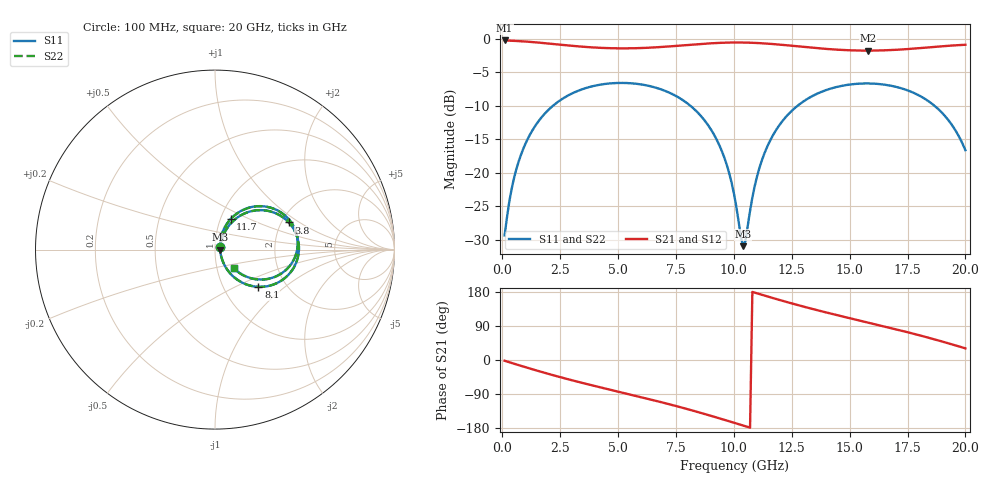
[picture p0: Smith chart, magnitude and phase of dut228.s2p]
! Touchstone file exported from HFSS 2026.1.0
!  File:  C:/ffzhzh/LocalFiles/Ansys_Project_Files/temp_train_TSV_RDL_228_1783064089_36532.aedt
!  Generated:  03:45:16 PM Jul  3, 2026
!  Design:  TSV_RDL
!  Project:  temp_train_TSV_RDL_228_1783064089_36532
! Variables:
!  h_bsmrdl = 5.6um
!  h_ox = 20um
!  h_rdl = 5um
!  h_sub = 51.95um
!  h_tmrdl = 4.25um
!  h_tsv = 51.95um
!  h_via = 3um
!  l_bsmrdl = 413.42um
!  l_sub = 5640.36um
!  l_tmrdl = 980.03um
!  m_sub = 200um
!  pitch = 34.62um
!  r_tsv = 13.12um
!  s_tmrdl = 10um
!  w_bsmrdl = 11.76um
!  w_sub = 500um
!  w_tmrdl = 14.9um
!  x_tsv_center1 = 987.48um
!  x_tsv_center2 = 1412.66um
!  x_tsv_center3 = 2407.59um
!  x_tsv_center4 = 2832.77um
!  x_tsv_center5 = 3827.7um
!  x_tsv_center6 = 4252.88um
# GHz S MA R 50.000000
! Terminal data exported
! Port[1] = TM_RDL1_1_T1
! Port[2] = TM_RDL5_1_T1
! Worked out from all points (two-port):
!   200 points, 100 MHz to 20 GHz, reference 50 ohm
!   highest |S21| = -0.26 dB at 100 MHz (marker M1); lowest = -1.8 dB at 15.8 GHz (marker M2)
!   |S21| within 3 dB of the highest: start of sweep to end of sweep
!   lowest |S11| = -31.0 dB at 10.4 GHz (marker M3), VSWR 1.06, Z = 52.9 - j0.0727 ohm
!   |S11| at or under -10 dB: start of sweep to 2.191 GHz; 8.12 GHz to 12.76 GHz (4.635 GHz wide, 44.4 % of centre); 18.66 GHz to end of sweep
!   |S22| runs from -30.8 to -6.6 dB; largest |S21 - S12| = 2.6e-14
!   S11 on the Smith chart (normalised r, x): 100 MHz: 1.06, +0.04; 3.8 GHz: 2.18, +0.82; 8.1 GHz: 1.45, -0.67; 11.7 GHz: 1.12, +0.40; 20 GHz: 1.20, -0.25
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0.1  0.03395 29.9  0.971 -2.0  0.971 -2.0  0.03395 29.9
! Gamma 0 0 0 0
! Port Impedance 50 0 50 0
0.5  0.09012 59.5  0.9644 -9.7  0.9644 -9.7  0.09012 59.5
1.2  0.1931 57.2  0.9476 -22.6  0.9476 -22.6  0.1931 57.2
2.2  0.3172 43.6  0.9136 -40.2  0.9136 -40.2  0.3172 43.6
3.5  0.4225 24.5  0.871 -61.1  0.871 -61.1  0.4225 24.5
3.8  0.4377 20.2  0.8636 -65.7  0.8636 -65.7  0.4377 20.2
5.3  0.4674 -0.7  0.8475 -87.8  0.8475 -87.8  0.4675 -0.7
6.8  0.4221 -21.7  0.8664 -110.3  0.8664 -110.3  0.4221 -21.7
8.1  0.3184 -40.7  0.9012 -131.4  0.9012 -131.4  0.3184 -40.6
9.4  0.1566 -57.5  0.9318 -154.3  0.9318 -154.3  0.1567 -57.4
9.8  0.09905 -58.5  0.9364 -161.7  0.9364 -161.7  0.09918 -58.3
10.1  0.05664 -50.6  0.9376 -167.3  0.9376 -167.3  0.05688 -50.2
10.4  0.02826 -1.4  0.9369 -172.9  0.9369 -172.9  0.02874 -1.3
10.5  0.03085 26.8  0.9362 -174.8  0.9362 -174.8  0.0313 26.4
11  0.09349 66.0  0.9296 176.0  0.9296 176.0  0.09364 65.7
11.7  0.1916 62.9  0.9127 163.3  0.9127 163.3  0.1917 62.7
12.4  0.2783 53.8  0.8901 151.0  0.8901 151.0  0.2784 53.7
13.4  0.374 39.7  0.8564 134.6  0.8564 134.6  0.374 39.6
15.8  0.4635 7.1  0.8155 98.7  0.8155 98.7  0.4635 6.9
16.7  0.4485 -4.9  0.8221 85.5  0.8221 85.5  0.4484 -5.1
18.7  0.3123 -32.2  0.8704 53.9  0.8704 53.9  0.3122 -32.4
20  0.1471 -44.7  0.9016 30.7  0.9016 30.7  0.147 -45.0
